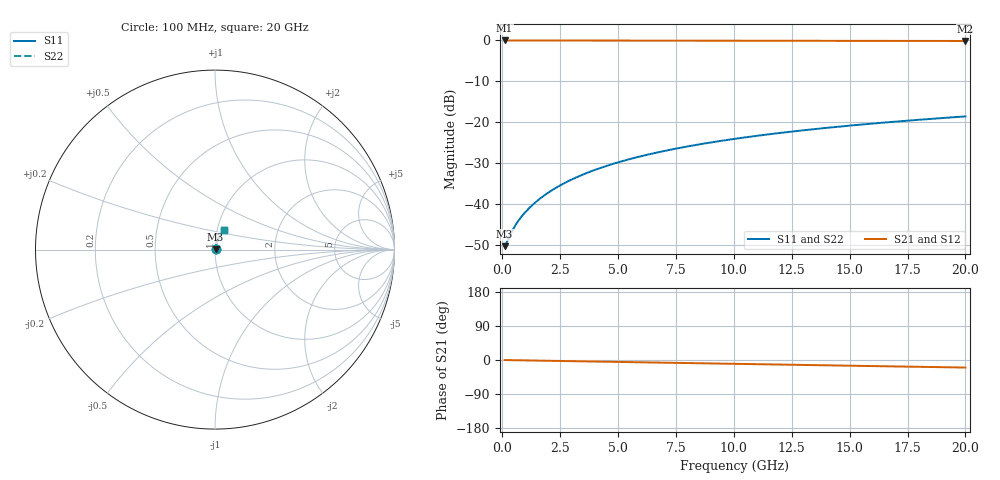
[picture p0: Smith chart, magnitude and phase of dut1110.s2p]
! Touchstone file exported from HFSS 2026.1.0
!  File:  C:/ffzhzh/LocalFiles/Ansys_Project_Files/temp_train_BSMRDL_1110_1783174946_22436.aedt
!  Generated:  10:23:35 PM Jul  4, 2026
!  Design:  BSMRDL
!  Project:  temp_train_BSMRDL_1110_1783174946_22436
! Variables:
!  h_bsmrdl = 2.84um
!  h_ox = 20um
!  h_rdl = 5um
!  h_sub = 80um
!  h_tmrdl = 5um
!  h_tsv = 80um
!  h_via = 3um
!  l_bsmrdl = 327.26um
!  l_sub = 727.26um
!  l_tmrdl = 200um
!  m_sub = 200um
!  pitch = 22.31um
!  r_tsv = 6um
!  s_tmrdl = 10um
!  w_bsmrdl = 14.86um
!  w_sub = 500um
!  w_tmrdl = 12um
!  x_tsv_center1 = 206um
!  x_tsv_center2 = 548.12um
!  x_tsv_center3 = 760.12um
!  x_tsv_center4 = 1102.24um
!  x_tsv_center5 = 1314.24um
!  x_tsv_center6 = 1656.36um
# GHz S MA R 50.000000
! Terminal data exported
! Port[1] = BSM_RDL1_1_T1
! Port[2] = BSM_RDL1_1_T2
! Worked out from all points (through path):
!   200 points, 100 MHz to 20 GHz, reference 50 ohm
!   highest |S21| = -0.03 dB at 100 MHz (marker M1); lowest = -0.2 dB at 20 GHz (marker M2)
!   group delay of S21, straight-line fit = 2.76 ps
!   lowest |S11| = -50.3 dB at 100 MHz (marker M3), VSWR 1.01, Z = 50.3 + j0.0835 ohm
!   |S11| at or under -10 dB: start of sweep to end of sweep
!   |S22| runs from -50.3 to -18.6 dB; largest |S21 - S12| = 3.5e-15
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0.1  0.003071 15.7  0.997 -0.1  0.997 -0.1  0.003071 15.7
! Gamma 0 0 0 0
! Port Impedance 50 0 50 0
0.2  0.003452 28.3  0.997 -0.2  0.997 -0.2  0.003452 28.3
0.4  0.004544 43.5  0.9967 -0.4  0.9967 -0.4  0.004544 43.5
0.5  0.005133 48.0  0.9966 -0.5  0.9966 -0.5  0.005133 48.0
0.7  0.006302 54.3  0.9964 -0.8  0.9964 -0.8  0.006302 54.3
1  0.008026 60.3  0.9961 -1.1  0.9961 -1.1  0.008026 60.3
1.3  0.009757 64.5  0.996 -1.4  0.996 -1.4  0.009757 64.5
1.5  0.01093 66.6  0.9959 -1.6  0.9959 -1.6  0.01093 66.6
1.8  0.0127 69.0  0.9958 -1.9  0.9958 -1.9  0.0127 69.0
2.3  0.01572 71.8  0.9956 -2.4  0.9956 -2.4  0.01572 71.8
2.9  0.0194 73.8  0.9954 -3.0  0.9954 -3.0  0.0194 73.8
3.5  0.02311 74.9  0.9952 -3.6  0.9952 -3.6  0.02311 74.9
4.2  0.02745 75.6  0.9948 -4.3  0.9948 -4.3  0.02745 75.6
5  0.0324 75.9  0.9944 -5.1  0.9944 -5.1  0.0324 75.9
5.9  0.03794 75.8  0.9939 -6.0  0.9939 -6.0  0.03794 75.8
6.8  0.04343 75.5  0.9933 -6.9  0.9933 -6.9  0.04343 75.5
8.3  0.05248 74.6  0.9923 -8.4  0.9923 -8.4  0.05248 74.6
10.1  0.06312 73.3  0.9909 -10.2  0.9909 -10.2  0.06312 73.3
11.7  0.07239 72.0  0.9896 -11.8  0.9896 -11.8  0.07239 72.0
13.4  0.08205 70.6  0.9882 -13.5  0.9882 -13.5  0.08205 70.6
16.7  0.1003 67.8  0.9853 -16.7  0.9853 -16.7  0.1003 67.8
20  0.1179 64.9  0.9823 -19.9  0.9823 -19.9  0.1179 64.9
